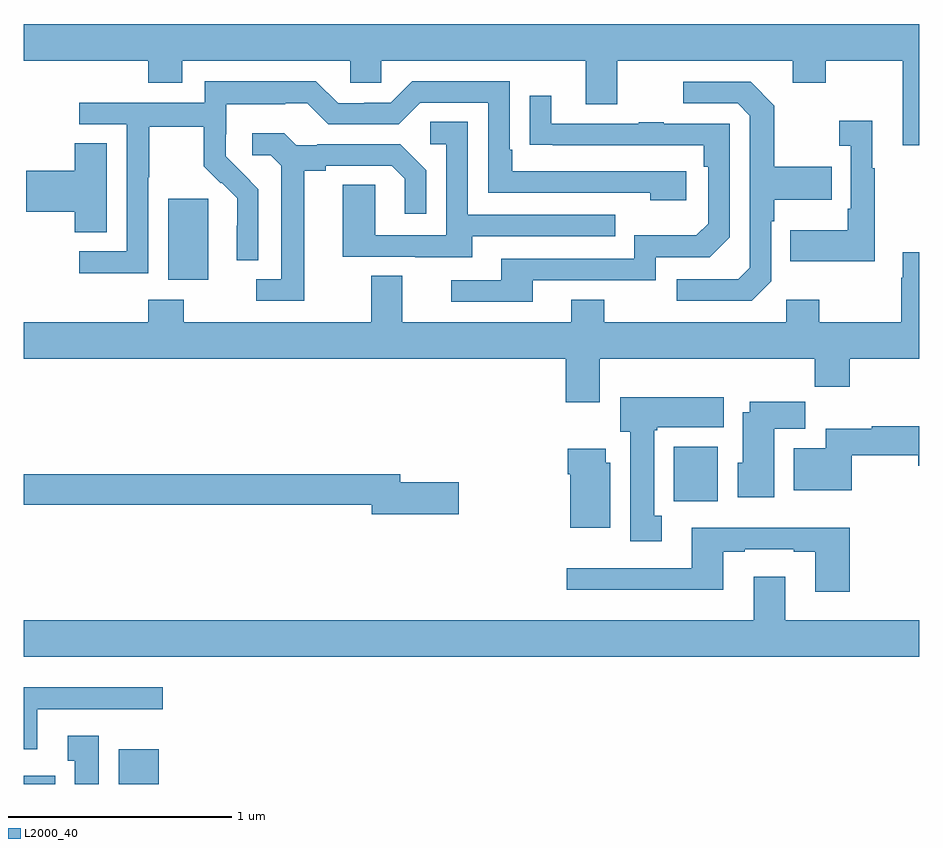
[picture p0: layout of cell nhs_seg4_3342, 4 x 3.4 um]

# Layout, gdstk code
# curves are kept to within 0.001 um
import gdstk
lib = gdstk.Library(unit=1e-6, precision=1e-09)
def R(c, l, rs):  # rectangles x0, y0, x1, y1
    for r in rs: c.add(gdstk.rectangle(r[:2], r[2:], *l))
def P(c, l, *ps):  # polygons
    for p in ps: c.add(gdstk.Polygon(p, *l))
L2000_40 = (2000, 40)

nhs_seg4_3342 = lib.new_cell('nhs_seg4_3342')
R(nhs_seg4_3342, L2000_40, [(287,814.9,287.14,814.936), (287.423,814.9,287.602,815.056), (289.904,816.164,290.101,816.406), (287.645,817.154,287.824,817.515)])
P(nhs_seg4_3342, L2000_40, [(287,818.132),(287.555,818.132),(287.555,818.033),(287.707,818.033),(287.707,818.132),(288.459,818.132),(288.459,818.034),(288.597,818.034),(288.597,818.132),(289.511,818.132),(289.511,817.938),(289.651,817.938),(289.651,818.132),(290.435,818.132),(290.435,818.033),(290.583,818.033),(290.583,818.132),(290.927,818.132),(290.927,817.755),(291,817.755),(291,818.296),(287,818.296)],
  [(287.556,817.612),(287.559,817.612),(287.559,817.836),(287.803,817.836),(287.803,817.661),(287.88,817.584),(287.883,817.587),(287.954,817.517),(287.954,817.394),(287.952,817.394),(287.952,817.24),(288.048,817.24),(288.048,817.558),(287.902,817.706),(287.902,817.803),(287.904,817.803),(287.904,817.937),(288.167,817.937),(288.167,817.941),(288.267,817.941),(288.36,817.848),(288.675,817.848),(288.771,817.944),(289.074,817.944),(289.074,817.542),(289.799,817.542),(289.799,817.508),(289.96,817.508),(289.96,817.638),(289.183,817.638),(289.183,817.735),(289.17,817.735),(289.17,818.04),(288.735,818.04),(288.639,817.944),(288.521,817.944),(288.521,817.941),(288.405,817.941),(288.305,818.041),(287.808,818.041),(287.808,817.944),(287.247,817.944),(287.247,817.848),(287.46,817.848),(287.46,817.281),(287.247,817.281),(287.247,817.183),(287.556,817.183)],
  [(290.34,817.146),(290.34,817.415),(290.353,817.415),(290.353,817.511),(290.609,817.511),(290.609,817.659),(290.353,817.659),(290.353,817.931),(290.247,818.037),(289.947,818.037),(289.947,817.941),(290.19,817.941),(290.244,817.887),(290.244,817.206),(290.193,817.155),(289.917,817.155),(289.917,817.059),(290.253,817.059)],
  [(289.273,817.152),(289.824,817.152),(289.824,817.254),(290.064,817.254),(290.154,817.344),(290.154,817.851),(289.859,817.851),(289.859,817.856),(289.747,817.856),(289.747,817.851),(289.357,817.851),(289.357,817.975),(289.261,817.975),(289.261,817.756),(290.038,817.755),(290.038,817.658),(290.058,817.658),(290.058,817.404),(290.005,817.351),(289.728,817.351),(289.728,817.248),(289.133,817.248),(289.133,817.152),(288.909,817.152),(288.909,817.056),(289.273,817.056)],
  [(290.803,817.651),(290.791,817.651),(290.791,817.864),(290.643,817.864),(290.643,817.751),(290.694,817.751),(290.694,817.471),(290.682,817.471),(290.682,817.375),(290.425,817.375),(290.425,817.235),(290.803,817.235)],
  [(289.003,817.347),(289.643,817.347),(289.643,817.443),(288.984,817.443),(288.984,817.859),(288.816,817.859),(288.816,817.758),(288.888,817.758),(288.888,817.353),(288.57,817.353),(288.57,817.577),(288.425,817.577),(288.425,817.257),(288.749,817.257),(288.749,817.253),(289.003,817.253)],
  [(288.253,817.64),(288.349,817.64),(288.349,817.662),(288.644,817.662),(288.701,817.605),(288.701,817.449),(288.798,817.449),(288.798,817.642),(288.682,817.758),(288.31,817.758),(288.31,817.755),(288.216,817.755),(288.164,817.807),(288.021,817.807),(288.021,817.71),(288.102,817.71),(288.149,817.663),(288.149,817.155),(288.039,817.155),(288.039,817.059),(288.253,817.059)],
  [(287.371,817.763),(287.228,817.763),(287.228,817.64),(287.01,817.64),(287.01,817.457),(287.228,817.457),(287.228,817.366),(287.371,817.366)],
  [(287.555,817.063),(287.555,816.964),(287,816.964),(287,816.8),(289.421,816.8),(289.421,816.606),(289.573,816.606),(289.573,816.8),(290.533,816.8),(290.533,816.676),(290.69,816.676),(290.69,816.8),(291,816.8),(291,817.276),(290.927,817.276),(290.927,817.163),(290.92,817.163),(290.92,816.964),(290.553,816.964),(290.553,817.063),(290.406,817.063),(290.406,816.964),(289.593,816.964),(289.593,817.063),(289.445,817.063),(289.445,816.964),(288.691,816.964),(288.691,817.172),(288.551,817.172),(288.551,816.964),(287.715,816.964),(287.715,817.063)],
  [(289.849,816.098),(289.816,816.098),(289.816,816.481),(289.83,816.481),(289.83,816.494),(290.128,816.494),(290.128,816.628),(289.664,816.628),(289.664,816.474),(289.709,816.474),(289.709,815.985),(289.849,815.985)],
  [(290.353,816.488),(290.492,816.488),(290.492,816.607),(290.243,816.607),(290.243,816.562),(290.213,816.562),(290.213,816.336),(290.189,816.336),(290.189,816.182),(290.353,816.182)],
  [(290.7,816.37),(290.996,816.37),(290.996,816.323),(291,816.323),(291,816.499),(290.788,816.499),(290.788,816.488),(290.582,816.488),(290.582,816.4),(290.441,816.4),(290.441,816.212),(290.7,816.212)],
  [(289.621,816.336),(289.6,816.336),(289.6,816.397),(289.43,816.397),(289.43,816.284),(289.442,816.284),(289.442,816.044),(289.621,816.044)],
  [(288.943,816.248),(288.682,816.248),(288.682,816.284),(287,816.284),(287,816.148),(288.554,816.148),(288.554,816.106),(288.943,816.106)],
  [(290.69,816.046),(289.985,816.046),(289.985,815.865),(289.425,815.865),(289.425,815.768),(290.125,815.768),(290.125,815.937),(290.221,815.937),(290.221,815.949),(290.441,815.949),(290.441,815.937),(290.537,815.937),(290.537,815.76),(290.69,815.76)],
  [(291,815.632),(290.401,815.632),(290.401,815.827),(290.261,815.827),(290.261,815.632),(287,815.632),(287,815.468),(291,815.468)],
  [(287.059,815.235),(287.62,815.235),(287.62,815.332),(287,815.332),(287,815.055),(287.059,815.055)],
  [(287.335,815.116),(287.195,815.116),(287.195,815.003),(287.228,815.003),(287.228,814.9),(287.335,814.9)])

lib.write_gds('nhs_seg4_3342.gds')
